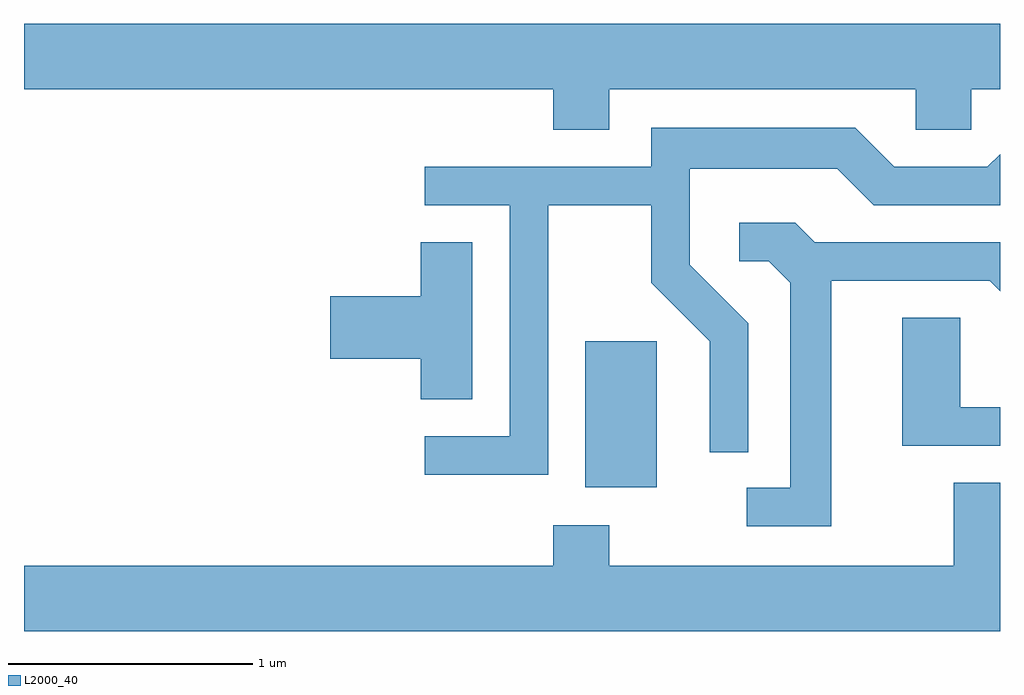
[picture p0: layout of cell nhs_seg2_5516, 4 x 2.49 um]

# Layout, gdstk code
import gdstk
lib = gdstk.Library(unit=1e-6, precision=1e-09)
def R(c, l, rs):  # rectangles x0, y0, x1, y1
    for r in rs: c.add(gdstk.rectangle(r[:2], r[2:], *l))
def P(c, l, *ps):  # polygons
    for p in ps: c.add(gdstk.Polygon(p, *l))
L2000_40 = (2000, 40)

nhs_seg2_5516 = lib.new_cell('nhs_seg2_5516')
R(nhs_seg2_5516, L2000_40, [(349.911,1055.566,350.204,1056.164)])
P(nhs_seg2_5516, L2000_40, [(350.009,1057.196),(351.266,1057.196),(351.266,1057.031),(351.494,1057.031),(351.494,1057.196),(351.611,1057.196),(351.611,1057.464),(347.611,1057.464),(347.611,1057.196),(349.781,1057.196),(349.781,1057.031),(350.009,1057.031)],
  [(349.759,1056.721),(350.181,1056.721),(350.181,1056.404),(350.421,1056.164),(350.421,1055.708),(350.579,1055.708),(350.579,1056.237),(350.339,1056.477),(350.339,1056.871),(350.944,1056.871),(351.094,1056.721),(351.611,1056.721),(351.611,1056.931),(351.559,1056.879),(351.177,1056.879),(351.017,1057.039),(350.181,1057.039),(350.181,1056.879),(349.253,1056.879),(349.253,1056.721),(349.601,1056.721),(349.601,1055.774),(349.253,1055.774),(349.253,1055.616),(349.759,1055.616)],
  [(350.919,1056.411),(351.569,1056.411),(351.611,1056.369),(351.611,1056.569),(350.852,1056.569),(350.772,1056.649),(350.543,1056.649),(350.543,1056.491),(350.664,1056.491),(350.751,1056.404),(350.751,1055.564),(350.573,1055.564),(350.573,1055.406),(350.919,1055.406)],
  [(349.449,1056.569),(349.236,1056.569),(349.236,1056.349),(348.866,1056.349),(348.866,1056.091),(349.236,1056.091),(349.236,1055.926),(349.449,1055.926)],
  [(351.611,1055.894),(351.449,1055.894),(351.449,1056.259),(351.211,1056.259),(351.211,1055.736),(351.611,1055.736)],
  [(351.611,1055.584),(351.421,1055.584),(351.421,1055.244),(350.009,1055.244),(350.009,1055.409),(349.781,1055.409),(349.781,1055.244),(347.611,1055.244),(347.611,1054.976),(351.611,1054.976)])

lib.write_gds('nhs_seg2_5516.gds')
